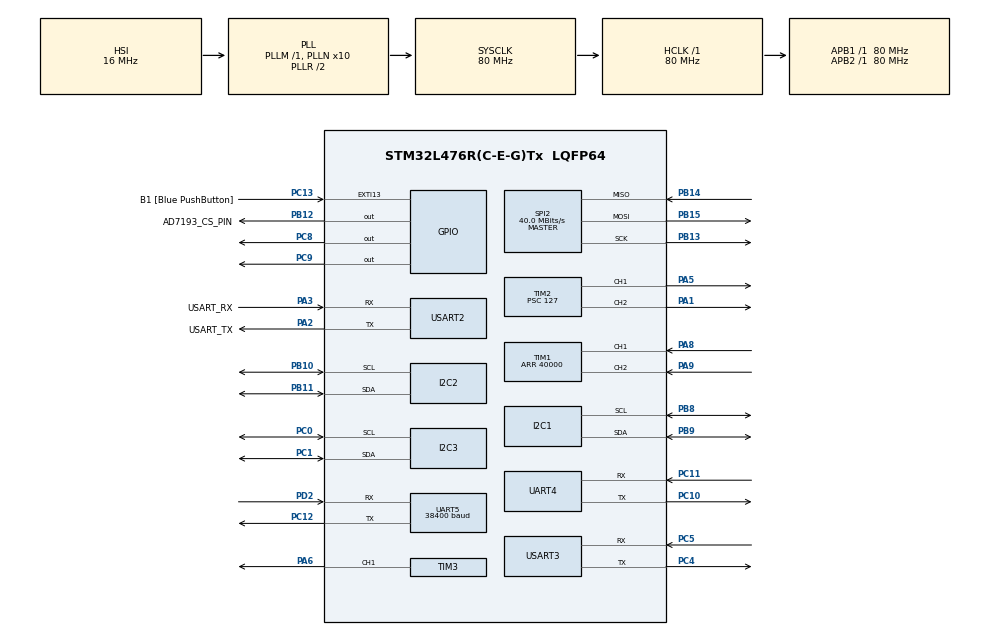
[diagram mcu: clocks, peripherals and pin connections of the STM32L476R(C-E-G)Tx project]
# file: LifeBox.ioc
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Dma.Request0=UART5_RX
Dma.Request1=UART5_TX
Dma.UART5_RX.0.Direction=DMA_PERIPH_TO_MEMORY
Dma.UART5_RX.0.Instance=DMA2_Channel2
Dma.UART5_RX.0.MemDataAlignment=DMA_MDATAALIGN_BYTE
Dma.UART5_RX.0.MemInc=DMA_MINC_ENABLE
Dma.UART5_RX.0.Mode=DMA_NORMAL
Dma.UART5_RX.0.PeriphDataAlignment=DMA_PDATAALIGN_BYTE
Dma.UART5_RX.0.PeriphInc=DMA_PINC_DISABLE
Dma.UART5_RX.0.Priority=DMA_PRIORITY_LOW
Dma.UART5_TX.1.Direction=DMA_MEMORY_TO_PERIPH
Dma.UART5_TX.1.Instance=DMA2_Channel1
Dma.UART5_TX.1.MemDataAlignment=DMA_MDATAALIGN_BYTE
Dma.UART5_TX.1.MemInc=DMA_MINC_ENABLE
Dma.UART5_TX.1.Mode=DMA_NORMAL
Dma.UART5_TX.1.PeriphDataAlignment=DMA_PDATAALIGN_BYTE
Dma.UART5_TX.1.PeriphInc=DMA_PINC_DISABLE
Dma.UART5_TX.1.Priority=DMA_PRIORITY_LOW
I2C2.Timeout=0x000080C3
Mcu.Family=STM32L4
Mcu.Name=STM32L476R(C-E-G)Tx
Mcu.Package=LQFP64
NVIC.DMA2_Channel1_IRQn=true\:0\:0\:false\:false\:true\:false\:true
NVIC.DMA2_Channel2_IRQn=true\:0\:0\:false\:false\:true\:false\:true
NVIC.I2C1_EV_IRQn=true\:0\:0\:false\:false\:true\:true\:true
NVIC.I2C2_EV_IRQn=true\:0\:0\:false\:false\:true\:true\:true
NVIC.I2C3_EV_IRQn=true\:0\:0\:false\:false\:true\:true\:true
NVIC.PriorityGroup=NVIC_PRIORITYGROUP_0
NVIC.TIM1_CC_IRQn=true\:0\:0\:false\:false\:true\:true\:true
NVIC.TIM5_IRQn=true\:0\:1\:true\:false\:true\:true\:true
NVIC.TIM6_DAC_IRQn=true\:0\:0\:false\:false\:true\:true\:true
NVIC.UART4_IRQn=true\:0\:0\:false\:false\:true\:true\:true
NVIC.UART5_IRQn=true\:0\:0\:false\:false\:true\:true\:true
NVIC.USART2_IRQn=true\:0\:0\:false\:false\:true\:true\:true
NVIC.USART3_IRQn=true\:0\:0\:true\:false\:true\:true\:true
PA1.Signal=S_TIM2_CH2
PA13\ (JTMS-SWDIO).GPIO_Label=TMS
PA13\ (JTMS-SWDIO).Mode=Serial_Wire
PA13\ (JTMS-SWDIO).Signal=SYS_JTMS-SWDIO
PA14\ (JTCK-SWCLK).GPIO_Label=TCK
PA14\ (JTCK-SWCLK).Mode=Serial_Wire
PA14\ (JTCK-SWCLK).Signal=SYS_JTCK-SWCLK
PA2.GPIO_Label=USART_TX
PA2.GPIO_Mode=GPIO_MODE_AF_PP
PA2.GPIO_PuPd=GPIO_NOPULL
PA2.GPIO_Speed=GPIO_SPEED_FREQ_VERY_HIGH
PA2.Mode=Asynchronous
PA2.Signal=USART2_TX
PA3.GPIO_Label=USART_RX
PA3.GPIO_Mode=GPIO_MODE_AF_PP
PA3.GPIO_PuPd=GPIO_NOPULL
PA3.GPIO_Speed=GPIO_SPEED_FREQ_VERY_HIGH
PA3.Mode=Asynchronous
PA3.Signal=USART2_RX
PA5.Signal=S_TIM2_CH1
PA6.Signal=S_TIM3_CH1
PA8.Signal=S_TIM1_CH1
PA9.Signal=S_TIM1_CH2
PB10.Mode=I2C
PB10.Signal=I2C2_SCL
PB11.Mode=I2C
PB11.Signal=I2C2_SDA
PB12.GPIO_Label=AD7193_CS_PIN
PB12.Signal=GPIO_Output
PB13.Mode=Full_Duplex_Master
PB13.Signal=SPI2_SCK
PB14.Mode=Full_Duplex_Master
PB14.Signal=SPI2_MISO
PB15.Mode=Full_Duplex_Master
PB15.Signal=SPI2_MOSI
PB3\ (JTDO-TRACESWO).GPIO_Label=SWO
PB3\ (JTDO-TRACESWO).Signal=SYS_JTDO-SWO
PB8.Mode=I2C
PB8.Signal=I2C1_SCL
PB9.Mode=I2C
PB9.Signal=I2C1_SDA
PC0.Mode=I2C
PC0.Signal=I2C3_SCL
PC1.Mode=I2C
PC1.Signal=I2C3_SDA
PC10.Mode=Asynchronous
PC10.Signal=UART4_TX
PC11.Mode=Asynchronous
PC11.Signal=UART4_RX
PC12.Mode=Asynchronous
PC12.Signal=UART5_TX
PC13.GPIO_Label=B1 [Blue PushButton]
PC13.GPIO_ModeDefaultEXTI=GPIO_MODE_IT_FALLING
PC13.GPIO_PuPd=GPIO_NOPULL
PC13.Signal=GPXTI13
PC14-OSC32_IN\ (PC14).Mode=LSE-External-Oscillator
PC14-OSC32_IN\ (PC14).Signal=RCC_OSC32_IN
PC15-OSC32_OUT\ (PC15).Mode=LSE-External-Oscillator
PC15-OSC32_OUT\ (PC15).Signal=RCC_OSC32_OUT
PC4.Mode=Asynchronous
PC4.Signal=USART3_TX
PC5.Mode=Asynchronous
PC5.Signal=USART3_RX
PC8.GPIO_PuPd=GPIO_PULLUP
PC8.PinState=GPIO_PIN_RESET
PC8.Signal=GPIO_Output
PC9.GPIO_PuPd=GPIO_PULLUP
PC9.PinState=GPIO_PIN_RESET
PC9.Signal=GPIO_Output
PD2.Mode=Asynchronous
PD2.Signal=UART5_RX
PH0-OSC_IN\ (PH0).Signal=RCC_OSC_IN
PH1-OSC_OUT\ (PH1).Signal=RCC_OSC_OUT
ProjectManager.HeapSize=0x200
ProjectManager.StackSize=0x400
ProjectManager.TargetToolchain=STM32CubeIDE
RCC.ADCFreq_Value=64000000
RCC.AHBFreq_Value=80000000
RCC.APB1Freq_Value=80000000
RCC.APB1TimFreq_Value=80000000
RCC.APB2Freq_Value=80000000
RCC.APB2TimFreq_Value=80000000
RCC.CortexFreq_Value=80000000
RCC.HCLKFreq_Value=80000000
RCC.HSE_VALUE=8000000
RCC.HSI_VALUE=16000000
RCC.MSI_VALUE=4000000
RCC.PLLN=10
RCC.PLLSourceVirtual=RCC_PLLSOURCE_HSI
RCC.PREFETCH_ENABLE=1
RCC.SYSCLKFreq_VALUE=80000000
RCC.SYSCLKSource=RCC_SYSCLKSOURCE_PLLCLK
RCC.USBFreq_Value=64000000
RCC.VCOOutputFreq_Value=160000000
SH.S_TIM1_CH1.0=TIM1_CH1,Encoder_Interface
SH.S_TIM1_CH2.0=TIM1_CH2,Encoder_Interface
SH.S_TIM2_CH1.0=TIM2_CH1,PWM Generation1 CH1
SH.S_TIM2_CH2.0=TIM2_CH2,PWM Generation2 CH2
SH.S_TIM3_CH1.0=TIM3_CH1,PWM Generation1 CH1
SPI2.CLKPhase=SPI_PHASE_2EDGE
SPI2.CLKPolarity=SPI_POLARITY_HIGH
SPI2.CalculateBaudRate=40.0 MBits/s
SPI2.DataSize=SPI_DATASIZE_8BIT
SPI2.Direction=SPI_DIRECTION_2LINES
SPI2.Mode=SPI_MODE_MASTER
SPI2.VirtualType=VM_MASTER
TIM1.Period=40000
TIM2.Channel-PWM\ Generation1\ CH1=TIM_CHANNEL_1
TIM2.Channel-PWM\ Generation2\ CH2=TIM_CHANNEL_2
TIM2.Period=62500-1
TIM2.Prescaler=127
TIM2.Pulse-PWM\ Generation1\ CH1=31250
TIM3.Channel-PWM\ Generation1\ CH1=TIM_CHANNEL_1
TIM3.Period=25000-1
TIM3.Prescaler=63
TIM5.Period=312500-1
TIM5.Prescaler=255
TIM6.Period=39062
TIM6.Prescaler=2047
UART5.BaudRate=38400
USART2.VirtualMode-Asynchronous=VM_ASYNC
USART3.VirtualMode-Asynchronous=VM_ASYNC
VP_TIM2_VS_ClockSourceINT.Mode=Internal
VP_TIM3_VS_ClockSourceINT.Mode=Internal
VP_TIM5_VS_ClockSourceINT.Mode=Internal
VP_TIM6_VS_ClockSourceINT.Mode=Enable_Timer
board=NUCLEO-L476RG

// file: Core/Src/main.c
/* USER CODE BEGIN Header */
/**
  ******************************************************************************
  * @file           : main.c
  * @brief          : Main program body
  ******************************************************************************
  * @attention
  *
  * <h2><center>&copy; Copyright (c) 2020 STMicroelectronics.
  * All rights reserved.</center></h2>
  *
  * This software component is licensed by ST under BSD 3-Clause license,
  * the "License"; You may not use this file except in compliance with the
  * License. You may obtain a copy of the License at:
  *                        opensource.org/licenses/BSD-3-Clause
  *
  ******************************************************************************
  */
/* USER CODE END Header */

#include "main.h"

/* USER CODE BEGIN Includes */
#include "Serial/Serial.h"
#include "roboClaw/roboClaw.h"
#include <string.h>
/* USER CODE END Includes */

/* USER CODE BEGIN PD */
//#define POWER_ON_SELF_TEST	0
/* USER CODE END PD */

/* USER CODE BEGIN PM */
#define F_I(f) ( f>0?(uint32_t)(f + 0.5):(uint32_t)(f - 0.5))
/* USER CODE END PM */

I2C_HandleTypeDef hi2c1;
I2C_HandleTypeDef hi2c2;
I2C_HandleTypeDef hi2c3;

SPI_HandleTypeDef hspi2;

TIM_HandleTypeDef htim1;
TIM_HandleTypeDef htim2;
TIM_HandleTypeDef htim3;
TIM_HandleTypeDef htim5;
TIM_HandleTypeDef htim6;

UART_HandleTypeDef huart4;
UART_HandleTypeDef huart5;
UART_HandleTypeDef huart2;
UART_HandleTypeDef huart3;
DMA_HandleTypeDef hdma_uart5_rx;
DMA_HandleTypeDef hdma_uart5_tx;

/* USER CODE BEGIN PV */
SERIAL_HandleTypeDef *hserial_uart5;
RoboClaw_HandleTypeDef hroboclaw_mc1;

Pressure_t PressureLimits;
uint8_t debug_buff[50];
uint32_t m1_enc_cnt;
uint32_t m1_speed;
uint8_t status;
bool valid;
char *user_data = "\tHello User! Welcome to LifeBox...\r\n";
char *exit_data = "\n\tThankyou for using LifeBox...\r\n";
char *menu_data = "\r\n"
		"**************************************************************************************\r\n"
		"*****************************************MAIN MENU************************************\r\n"
		"**************************************************************************************\r\n"
		"1. START BLOWER\r\n"
		"2. STOP BLOWER\r\n"
		"3. START EXHAUST FAN\r\n"
		"4. STOP EXHAUST FAN\r\n"
		"5. OPEN SOLENOID VALVE\r\n"
		"6. CLOSE SOLENOID VALVE\r\n"
		"7. READ TEMPERATURE SENSOR 1 MCP9808\r\n"
		"8. READ TEMPERATURE SENSOR 2 MCP9808\r\n"
		"9. READ HEART TEMPERATURE SENSOR MLX90614\r\n"
		"a. READ HUMIDITY + TEMPERATURE SENSOR BME280\r\n"
		"b. READ LOAD SENSOR 1\r\n"
		"c. START PUMP 1\r\n"
		"d. STOP PUMP 1\r\n"
		"e. READ ENCODER\r\n"
		"f. START PUMP 2\r\n"
		"g. STOP PUMP 2\r\n"
		"h. READ pH SENSOR\r\n"
		"i. READ PRESSURE SENSOR\r\n"
		"j. READ FLOW SENSOR\r\n"
		"k. TEST COMMNUNICATION WITH RASPBERRY-PI\r\n"
		"p. START COOLING CHAMBER\r\n"
		"s. STOP COOLING CHAMBER\r\n"
		"x. EXIT APPLICATION\r\n"
		"Enter your Option Number\r\n";
char *CurrentBlowerOption[3] = {"\n\t--------BLOWER STARTED SUCCESSFULLY--------\r\n",
		"\n\t--------BLOWER STOPPED SUCCESSFULLY--------\r\n",
		"\n\t--------INVALID OPTION SELECTED--------\r\n"};
char *BlowerSetting_data = "\n"
		"*************************************************************************************\r\n"
		"********************************BLOWER SETTINGS TABLE********************************\r\n"
		"*************************************************************************************\r\n"
		"1. 0% DUTY CYCLE\r\n"
		"2. 30% DUTY CYCLE\r\n"
		"3. 60% DUTY CYCLE\r\n"
		"4. 80% DUTY CYCLE\r\n"
		"5. 100% DUTY CYCLE\r\n"
		"Enter your Option Number and press the ENTER key\r\n";
char *PumpOneSetting_data = "\n"
		"*************************************************************************************\r\n"
		"********************************BLOWER SETTINGS TABLE********************************\r\n"
		"*************************************************************************************\r\n"
		"1. 10% DUTY CYCLE\r\n"
		"2. 100% DUTY CYCLE\r\n"
		"Enter your Option Number and press the ENTER key\r\n";
char *CurrentExhaustFanOption[3] = {"\n\t--------EXHAUST FAN STARTED SUCCESSFULLY--------\r\n",
		"\n\t--------EXHAUST FAN STOPPED SUCCESSFULLY--------\r\n",
		"\n\t--------INVALID OPTION SELECTED--------\r\n"};
char *ExhaustFanSetting_data = "\n"
		"**********************************************************************************\r\n"
		"*****************************EXHAUST FAN SETTINGS TABLE***************************\r\n"
		"**********************************************************************************\r\n"
		"1. 25% DUTY CYCLE\r\n"
		"2. 50% DUTY CYCLE\r\n"
		"3. 75% DUTY CYCLE\r\n"
		"4. 100% DUTY CYCLE\r\n"
		"5. DUTY CYCLE in LOOP 1% to 100% and vice-versa\r\n"
		"Enter your Option Number and press the ENTER key\r\n";

uint8_t RxData = 0;
uint8_t RxDataBuffer[100];
uint8_t RxOptionData[10],RxBlowerOption[10],RxExhaustFanOption[10];
uint8_t Cnt = 0,Complete = 0;
uint8_t MainMenuMode = 0,BlowerStartMode = 0,ExhaustFanStartMode = 0, BlowerLoop = 0, ExhaustFanLoop = 0;
uint32_t PulseCounter = 0;
uint8_t RcvDataBuffer[7],RcvDataBuf[20],PerfusionDataBuf[5];
uint8_t Count = 0;
uint8_t RcvData = 0;
uint8_t TemperatureAvailable = 0;
float Temperature = 0;
uint32_t IterationNumber = 0;
float Temp_IN_PID_Output[5000][3];
uint8_t PWM = 0;
uint8_t LastPWM = 0;
uint8_t BlowerPIDLoop = 0;
uint8_t PwmZero = 0;
uint16_t adcValue = 0;
int UnitWeight = 0;
float CalibrationValue = 0;
uint16_t NumOfSamples = 4;
char usr_msg1[100];
uint8_t ON = 0,OFF = 0;
int DryIceLoad = 0;
int SalineOneLoad = 0;
int SalineTwoLoad = 0;
uint8_t BlowerFunctionalTime = 0;
uint8_t BlowerOnOff = 0;
uint8_t ExhaustOnOff = 0;
float pHValue = 0;
float PressureValue = 0;
uint8_t PerfusionSettingUpdated = 0,ReqPerfusionTime = 0;
uint8_t ReqPerfusionData = 0;
uint16_t PerfusionFlowRate = 0;
uint8_t PerfusionTimeInterval = 0;
uint8_t PerfusionTime = 0;
uint32_t SecondCount = 0, GsecCounter = 0;
uint32_t MinuteCount = 0, GminCounter = 0;
uint8_t MainPumpSpeedValue = 0;
uint8_t StopPumpOneMotor = 0;
uint8_t StartPumpOneMotor = 0;
uint8_t StopPumpTwoMotor = 0;
uint8_t StartPumpTwoMotor = 0;
uint8_t NumOfPerfusionCycles = 0;
/* USER CODE END PV */

void SystemClock_Config(void);
static void MX_GPIO_Init(void);
static void MX_DMA_Init(void);
static void MX_TIM2_Init(void);
static void MX_USART2_UART_Init(void);
static void MX_I2C1_Init(void);
static void MX_I2C2_Init(void);
static void MX_I2C3_Init(void);
static void MX_TIM1_Init(void);
static void MX_TIM3_Init(void);
static void MX_TIM5_Init(void);
static void MX_USART3_UART_Init(void);
static void MX_UART4_Init(void);
static void MX_UART5_Init(void);
static void MX_SPI2_Init(void);
static void MX_TIM6_Init(void);
/* USER CODE BEGIN PFP */
void MenuDisplay();
void ResetVariables();
/* USER CODE END PFP */

int main(void)
{

  /* MCU Configuration--------------------------------------------------------*/

  /* Reset of all peripherals, Initializes the Flash interface and the Systick. */
  HAL_Init();

  /* Configure the system clock */
  SystemClock_Config();

  /* Initialize all configured peripherals */
  MX_GPIO_Init();
  MX_DMA_Init();
  MX_TIM2_Init();
  MX_USART2_UART_Init();
  MX_I2C1_Init();
  MX_I2C2_Init();
  MX_I2C3_Init();
  MX_TIM1_Init();
  MX_TIM3_Init();
  MX_TIM5_Init();
  MX_USART3_UART_Init();
  MX_UART4_Init();
  MX_UART5_Init();
  MX_SPI2_Init();
  MX_TIM6_Init();
  /* USER CODE BEGIN 2 */
  InitializeRoboClaw();
  LoadDefaultSettings();
  InitializePressureSensor();
  InitializeTemperatureSensor();
  InitializeLoadCell();
  //  InitializeServo();
  /*to run unit level test un-comment below two lines*/
  if(POWER_ON_SELF_TEST == 1)
  {
	  HAL_UART_Transmit(&huart2, (uint8_t*)user_data, strlen(user_data), HAL_MAX_DELAY);
	  MenuDisplay();
  }
  else
  {
	  ReadTemperatureSensorOne();
	  ReadTemperatureSensorTwo();
	  ReadHeartTemperatureSensor();
  }

  /* USER CODE END 2 */

  /* Infinite loop */
  /* USER CODE BEGIN WHILE */
  while (1)
  {
/*	  BackupCodes
//	  to run PID through RaspberryPi Temperature reception un-comment below line
//	  HAL_UART_Receive_IT(&huart3, &RcvData, 1);

//	  to run Servo Motor un-comment the below Lines of code
//	  ExhaustGateOpen();
//	  HAL_Delay(2000);
//	  ExhaustGateClose();
//	  HAL_Delay(2000);

//	  to run External ADC un-comment the below Lines of code
//	  adcValue = readADC_SingleEnded(2);
//	  HAL_Delay(100);

//	  to run Exhaust FAN with servo motor un-comment the below Lines of code
//	  ExhaustGateOpen();
//	  HAL_GPIO_WritePin(GPIOC, GPIO_PIN_8, GPIO_PIN_SET);
//	  HAL_Delay(3000);
//	  ExhaustGateClose();
//	  HAL_GPIO_WritePin(GPIOC, GPIO_PIN_8, GPIO_PIN_RESET);
//	  HAL_Delay(3000);

//To run Cooling Chamber PID uncomment the following lines of code
 * read temperature sensor values and Load cell value here
 * calculate the weighted average of the two temperature sensors
 * 70% for the bottom Temperature sensor 1
 * 30% for the top Temperature sensor 2
 * monitor for the emergency button

//	  if(BlowerPIDLoop == 1)
//	  {
//		  ReadTemperatureSensorOne();
//		  ReadTemperatureSensorTwo();
//		  Temperature = (((TemperatureOne * 0.7) + (TemperatureTwo * 0.3)) );
//		  sprintf(usr_msg1, "\n\tTemperature Sensor Value =  %f *C\n\r", (Temperature));
//		  if(HAL_UART_Transmit(&huart2, (uint8_t*)usr_msg1, sizeof(usr_msg1), HAL_MAX_DELAY)!= HAL_OK)
//		  {
//			  Error_Handler();
//		  }
//	  }
//	  to run unit level test un-comment below two lines*/
	  if(POWER_ON_SELF_TEST == 1)
		  PowerOnSelfTest();
	  else
	  {
		  ReadLoadcell();
		  ReadTemperatureSensorOne();
		  ReadTemperatureSensorTwo();
		  CalculateTempAverage();
		  ReadHeartTemperatureSensor();
		  pHValue = ReadPHSensor();
		  PressureValue = ReadPressureSensor();
		  HAL_UART_Receive_IT(&huart4, &RcvData, 1);

		  if(RcvDataBuf[0] == '1')
		  {
			  ResetVariables();
			  memset(usr_msg1, 0, sizeof(usr_msg1)); // clear the array
			  sprintf(usr_msg1, "A\n\r");
			  SendToGUI((uint8_t*)usr_msg1);
			  RcvDataBuf[Count] = 0;
			  ON = 1;
			  OFF = 0;
			  HAL_Delay(100);
		  }
		  else if(RcvDataBuf[0] == '2')
		  {
			  memset(usr_msg1, 0, sizeof(usr_msg1)); // clear the array
			  sprintf(usr_msg1, "B\n\r");
			  SendToGUI((uint8_t*)usr_msg1);
			  RcvDataBuf[Count] = 0;
			  OFF = 1;
			  ON = 0;
			  HAL_Delay(100);
		  }
		  else if(RcvDataBuf[0] == 'C')
		  {
			  StartCoolingChamber();
			  RcvDataBuf[Count] = 0;
		  }
		  else if(RcvDataBuf[0] == 'c')
		  {
			  StopCoolingChamber();
			  ExhaustGateClose();
			  ExhaustOff();
			  RcvDataBuf[Count] = 0;
		  }
		  else if(RcvDataBuf[0] == 'X')
		  {
			  ExhaustGateOpen();
			  ExhaustOn();
			  RcvDataBuf[Count] = 0;
		  }
		  else if(RcvDataBuf[0] == 'x')
		  {
			  ExhaustGateClose();
			  ExhaustOff();
			  RcvDataBuf[Count] = 0;
		  }
		  else if(RcvDataBuf[0] == 'T')
		  {
			  HX711_Tare(NumOfSamples,DRY_ICE_LOAD);
			  RcvDataBuf[Count] = 0;
		  }
		  else if(RcvDataBuf[0] == 'L')
		  {
			  /*Tare the main reservoir load cell*/
			  HX711_Tare(NumOfSamples,PERFUSION_FLUID_LOAD);
			  RcvDataBuf[Count] = 0;
		  }
		  else if(RcvDataBuf[0] == 'l')
		  {
			  /*Tare the waste reservoir load cell*/
			  HX711_Tare(NumOfSamples,WASTE_FLUID_LOAD);
			  RcvDataBuf[Count] = 0;
		  }
		  else if(RcvDataBuf[0] == 'U')
		  {
			  /*Update the perfusion settings*/
			  ReqPerfusionData = 1;
			  RcvDataBuf[Count] = 0;
		  }
		  else if(PerfusionSettingUpdated == 1)
		  {
			  GetPerfusionData();
			  PerfusionSettingUpdated = 0;
		  }
		  else if(RcvDataBuf[0] == 'P')
		  {
			  /*Start the perfusion at the given rate
			   * start the interval timer here*/
			  StartPerfusion();
			  RcvDataBuf[Count] = 0;
		  }
		  else if(RcvDataBuf[0] == 'p')
		  {
			  /*Stop the perfusion*/
			  StopPerfusion();
			  RcvDataBuf[Count] = 0;
		  }
		  else if(RcvDataBuf[0] == 'M')
		  {
			  /*Start the Motor 1 in forward direction*/
			  ForwardM1(&hroboclaw_mc1,64);
			  RcvDataBuf[Count] = 0;
		  }
		  else if(RcvDataBuf[0] == 'm')
		  {
			  /*Stop the Motor 1*/
			  ForwardM1(&hroboclaw_mc1,0);
			  RcvDataBuf[Count] = 0;
		  }
		  else if(RcvDataBuf[0] == 'S')
		  {
			  /*Start the Motor 2 in forward direction*/
			  ForwardM2(&hroboclaw_mc1,127);
			  RcvDataBuf[Count] = 0;
		  }
		  else if(RcvDataBuf[0] == 's')
		  {
			  /*Stop the Motor 2*/
			  ForwardM2(&hroboclaw_mc1,0);
			  RcvDataBuf[Count] = 0;
		  }
		  else if(RcvDataBuf[0] == 'F')
		  {
			  /*Start the Motor 1 in backward direction*/
			  BackwardM1(&hroboclaw_mc1,64);
			  RcvDataBuf[Count] = 0;
		  }
		  else if(RcvDataBuf[0] == 'f')
		  {
			  /*Stop the Motor 1*/
			  BackwardM1(&hroboclaw_mc1,0);
			  RcvDataBuf[Count] = 0;
		  }
		  else if(RcvDataBuf[0] == 'R')
		  {
			  /*Start the Motor 2 in backward direction*/
			  BackwardM2(&hroboclaw_mc1,127);
			  RcvDataBuf[Count] = 0;
		  }
		  else if(RcvDataBuf[0] == 'r')
		  {
			  /*Stop the Motor 2*/
			  BackwardM2(&hroboclaw_mc1,0);
			  RcvDataBuf[Count] = 0;
		  }
		  else if(RcvDataBuf[0] == 'I')
		  {
			  /*Reset the perfusion data*/
			  ResetPerfusionData();
			  RcvDataBuf[Count] = 0;
		  }
		  else if(RcvDataBuf[0] == 'Z')
		  {
			  RcvDataBuf[Count] = 0;
		  }
		  if(ON == 1)
		  {
			  memset(usr_msg1, 0, sizeof(usr_msg1)); // clear the array
			  sprintf(usr_msg1, "***\n\r");
			  SendToGUI((uint8_t*)usr_msg1);

			  memset(usr_msg1, 0, sizeof(usr_msg1)); // clear the array
			  sprintf(usr_msg1, "%f\n\r", (TemperatureOne));
			  SendToGUI((uint8_t*)usr_msg1);
//			  SendToUSB((uint8_t*)usr_msg1);

			  memset(usr_msg1, 0, sizeof(usr_msg1)); // clear the array
			  sprintf(usr_msg1, "%f\n\r", (TemperatureTwo));
			  SendToGUI((uint8_t*)usr_msg1);
//			  SendToUSB((uint8_t*)usr_msg1);

			  memset(usr_msg1, 0, sizeof(usr_msg1)); // clear the array
			  sprintf(usr_msg1, "%f\n\r", (Temperature));
			  SendToGUI((uint8_t*)usr_msg1);
//			  SendToUSB((uint8_t*)usr_msg1);

			  memset(usr_msg1, 0, sizeof(usr_msg1)); // clear the array
			  sprintf(usr_msg1, "%f\n\r", (HeartTemperature));
			  SendToGUI((uint8_t*)usr_msg1);
//			  SendToUSB((uint8_t*)usr_msg1);

			  memset(usr_msg1, 0, sizeof(usr_msg1)); // clear the array
			  sprintf(usr_msg1, "%d\n\r", (DryIceLoad));
			  SendToGUI((uint8_t*)usr_msg1);
//			  SendToUSB((uint8_t*)usr_msg1);

			  memset(usr_msg1, 0, sizeof(usr_msg1)); // clear the array
			  sprintf(usr_msg1, "%d\n\r", (SalineOneLoad));
			  SendToGUI((uint8_t*)usr_msg1);
//			  SendToUSB((uint8_t*)usr_msg1);

			  memset(usr_msg1, 0, sizeof(usr_msg1)); // clear the array
			  sprintf(usr_msg1, "%d\n\r", (SalineTwoLoad));
			  SendToGUI((uint8_t*)usr_msg1);
//			  SendToUSB((uint8_t*)usr_msg1);

			  memset(usr_msg1, 0, sizeof(usr_msg1)); // clear the array
			  sprintf(usr_msg1, "%f\n\r", (PidOutput));
			  SendToGUI((uint8_t*)usr_msg1);
//			  SendToUSB((uint8_t*)usr_msg1);

			  memset(usr_msg1, 0, sizeof(usr_msg1)); // clear the array
//			  sprintf(usr_msg1, "%d\n\r", (PWM));
			  sprintf(usr_msg1, "%d\n\r", (BlowerFunctionalTime));
			  SendToGUI((uint8_t*)usr_msg1);
//			  SendToUSB((uint8_t*)usr_msg1);

			  memset(usr_msg1, 0, sizeof(usr_msg1)); // clear the array
			  sprintf(usr_msg1, "%d\n\r", (BlowerOnOff));
			  SendToGUI((uint8_t*)usr_msg1);
//			  SendToUSB((uint8_t*)usr_msg1);

			  memset(usr_msg1, 0, sizeof(usr_msg1)); // clear the array
			  sprintf(usr_msg1, "%d\n\r", (ExhaustOnOff));
			  SendToGUI((uint8_t*)usr_msg1);
//			  SendToUSB((uint8_t*)usr_msg1);

			  memset(usr_msg1, 0, sizeof(usr_msg1)); // clear the array
			  sprintf(usr_msg1, "%d\n\r", (ReqPerfusionData));
			  SendToGUI((uint8_t*)usr_msg1);
//			  SendToUSB((uint8_t*)usr_msg1);

			  memset(usr_msg1, 0, sizeof(usr_msg1)); // clear the array
			  sprintf(usr_msg1, "%d\n\r", (ReqPerfusionTime));
			  SendToGUI((uint8_t*)usr_msg1);
//			  SendToUSB((uint8_t*)usr_msg1);

			  memset(usr_msg1, 0, sizeof(usr_msg1)); // clear the array
			  sprintf(usr_msg1, "%ld\n\r", (GsecCounter));
			  SendToGUI((uint8_t*)usr_msg1);
//			  SendToUSB((uint8_t*)usr_msg1);

			  memset(usr_msg1, 0, sizeof(usr_msg1)); // clear the array
			  sprintf(usr_msg1, "%ld\n\r", (SecondCount));
			  SendToGUI((uint8_t*)usr_msg1);
//			  SendToUSB((uint8_t*)usr_msg1);

			  memset(usr_msg1, 0, sizeof(usr_msg1)); // clear the array
			  sprintf(usr_msg1, "%d\n\r", (StartPumpOneMotor));
			  SendToGUI((uint8_t*)usr_msg1);
//			  SendToUSB((uint8_t*)usr_msg1);

			  memset(usr_msg1, 0, sizeof(usr_msg1)); // clear the array
			  sprintf(usr_msg1, "%d\n\r", (StartPumpTwoMotor));
			  SendToGUI((uint8_t*)usr_msg1);
//			  SendToUSB((uint8_t*)usr_msg1);

			  memset(usr_msg1, 0, sizeof(usr_msg1)); // clear the array
			  sprintf(usr_msg1, "%f\n\r", (PressureValue));
			  SendToGUI((uint8_t*)usr_msg1);
//			  SendToUSB((uint8_t*)usr_msg1);

			  memset(usr_msg1, 0, sizeof(usr_msg1)); // clear the array
			  sprintf(usr_msg1, "%f\n\r", (pHValue));
			  SendToGUI((uint8_t*)usr_msg1);
//			  SendToUSB((uint8_t*)usr_msg1);

			  memset(usr_msg1, 0, sizeof(usr_msg1)); // clear the array
			  sprintf(usr_msg1, "%d\n\r", (NumOfPerfusionCycles));
			  SendToGUI((uint8_t*)usr_msg1);
//			  SendToUSB((uint8_t*)usr_msg1);
		  }
		  else
		  {
			  /*Stop all timers and motor here*/
			  HAL_TIM_Base_Stop_IT(&htim6);
			  ForwardM1(&hroboclaw_mc1,0);
			  ForwardM2(&hroboclaw_mc1,0);
			  StopPumpOneMotor = 0;
			  StartPumpOneMotor = 0;
			  StopPumpTwoMotor = 0;
			  StartPumpTwoMotor = 0;
		  }
		  if(StopPumpOneMotor == 1)
		  {
			  ForwardM1(&hroboclaw_mc1,0);
		  }
		  if(StartPumpOneMotor == 1)
		  {
			  ForwardM1(&hroboclaw_mc1,MainPumpSpeedValue);
		  }
		  if(StopPumpTwoMotor == 1)
		  {
			  ForwardM2(&hroboclaw_mc1,0);
		  }
		  if(StartPumpTwoMotor == 1)
		  {
			  ForwardM2(&hroboclaw_mc1,127);//max speed
		  }
	  }

    /* USER CODE END WHILE */

  }
}

void SystemClock_Config(void)
{
  RCC_OscInitTypeDef RCC_OscInitStruct = {0};
  RCC_ClkInitTypeDef RCC_ClkInitStruct = {0};
  RCC_PeriphCLKInitTypeDef PeriphClkInit = {0};

  /** Initializes the CPU, AHB and APB busses clocks
  */
  RCC_OscInitStruct.OscillatorType = RCC_OSCILLATORTYPE_HSI;
  RCC_OscInitStruct.HSIState = RCC_HSI_ON;
  RCC_OscInitStruct.HSICalibrationValue = RCC_HSICALIBRATION_DEFAULT;
  RCC_OscInitStruct.PLL.PLLState = RCC_PLL_ON;
  RCC_OscInitStruct.PLL.PLLSource = RCC_PLLSOURCE_HSI;
  RCC_OscInitStruct.PLL.PLLM = 1;
  RCC_OscInitStruct.PLL.PLLN = 10;
  RCC_OscInitStruct.PLL.PLLP = RCC_PLLP_DIV7;
  RCC_OscInitStruct.PLL.PLLQ = RCC_PLLQ_DIV2;
  RCC_OscInitStruct.PLL.PLLR = RCC_PLLR_DIV2;
  if (HAL_RCC_OscConfig(&RCC_OscInitStruct) != HAL_OK)
  {
    Error_Handler();
  }
  /** Initializes the CPU, AHB and APB busses clocks
  */
  RCC_ClkInitStruct.ClockType = RCC_CLOCKTYPE_HCLK|RCC_CLOCKTYPE_SYSCLK
                              |RCC_CLOCKTYPE_PCLK1|RCC_CLOCKTYPE_PCLK2;
  RCC_ClkInitStruct.SYSCLKSource = RCC_SYSCLKSOURCE_PLLCLK;
  RCC_ClkInitStruct.AHBCLKDivider = RCC_SYSCLK_DIV1;
  RCC_ClkInitStruct.APB1CLKDivider = RCC_HCLK_DIV1;
  RCC_ClkInitStruct.APB2CLKDivider = RCC_HCLK_DIV1;

  if (HAL_RCC_ClockConfig(&RCC_ClkInitStruct, FLASH_LATENCY_4) != HAL_OK)
  {
    Error_Handler();
  }
  PeriphClkInit.PeriphClockSelection = RCC_PERIPHCLK_USART2|RCC_PERIPHCLK_USART3
                              |RCC_PERIPHCLK_UART4|RCC_PERIPHCLK_UART5
                              |RCC_PERIPHCLK_I2C1|RCC_PERIPHCLK_I2C2
                              |RCC_PERIPHCLK_I2C3;
  PeriphClkInit.Usart2ClockSelection = RCC_USART2CLKSOURCE_PCLK1;
  PeriphClkInit.Usart3ClockSelection = RCC_USART3CLKSOURCE_PCLK1;
  PeriphClkInit.Uart4ClockSelection = RCC_UART4CLKSOURCE_PCLK1;
  PeriphClkInit.Uart5ClockSelection = RCC_UART5CLKSOURCE_PCLK1;
  PeriphClkInit.I2c1ClockSelection = RCC_I2C1CLKSOURCE_PCLK1;
  PeriphClkInit.I2c2ClockSelection = RCC_I2C2CLKSOURCE_PCLK1;
  PeriphClkInit.I2c3ClockSelection = RCC_I2C3CLKSOURCE_PCLK1;
  if (HAL_RCCEx_PeriphCLKConfig(&PeriphClkInit) != HAL_OK)
  {
    Error_Handler();
  }
  /** Configure the main internal regulator output voltage
  */
  if (HAL_PWREx_ControlVoltageScaling(PWR_REGULATOR_VOLTAGE_SCALE1) != HAL_OK)
  {
    Error_Handler();
  }
}

static void MX_I2C1_Init(void)
{

  hi2c1.Instance = I2C1;
  hi2c1.Init.Timing = 0x10909CEC;
  hi2c1.Init.OwnAddress1 = 0;
  hi2c1.Init.AddressingMode = I2C_ADDRESSINGMODE_7BIT;
  hi2c1.Init.DualAddressMode = I2C_DUALADDRESS_DISABLE;
  hi2c1.Init.OwnAddress2 = 0;
  hi2c1.Init.OwnAddress2Masks = I2C_OA2_NOMASK;
  hi2c1.Init.GeneralCallMode = I2C_GENERALCALL_DISABLE;
  hi2c1.Init.NoStretchMode = I2C_NOSTRETCH_DISABLE;
  if (HAL_I2C_Init(&hi2c1) != HAL_OK)
  {
    Error_Handler();
  }
  /** Configure Analogue filter
  */
  if (HAL_I2CEx_ConfigAnalogFilter(&hi2c1, I2C_ANALOGFILTER_ENABLE) != HAL_OK)
  {
    Error_Handler();
  }
  /** Configure Digital filter
  */
  if (HAL_I2CEx_ConfigDigitalFilter(&hi2c1, 0) != HAL_OK)
  {
    Error_Handler();
  }

}

static void MX_I2C2_Init(void)
{

  hi2c2.Instance = I2C2;
  hi2c2.Init.Timing = 0x10909CEC;
  hi2c2.Init.OwnAddress1 = 0;
  hi2c2.Init.AddressingMode = I2C_ADDRESSINGMODE_7BIT;
  hi2c2.Init.DualAddressMode = I2C_DUALADDRESS_DISABLE;
  hi2c2.Init.OwnAddress2 = 0;
  hi2c2.Init.OwnAddress2Masks = I2C_OA2_NOMASK;
  hi2c2.Init.GeneralCallMode = I2C_GENERALCALL_DISABLE;
  hi2c2.Init.NoStretchMode = I2C_NOSTRETCH_DISABLE;
  if (HAL_I2C_Init(&hi2c2) != HAL_OK)
  {
    Error_Handler();
  }
  /** Configure Analogue filter
  */
  if (HAL_I2CEx_ConfigAnalogFilter(&hi2c2, I2C_ANALOGFILTER_ENABLE) != HAL_OK)
  {
    Error_Handler();
  }
  /** Configure Digital filter
  */
  if (HAL_I2CEx_ConfigDigitalFilter(&hi2c2, 0) != HAL_OK)
  {
    Error_Handler();
  }

}

static void MX_I2C3_Init(void)
{

  hi2c3.Instance = I2C3;
  hi2c3.Init.Timing = 0x10909CEC;
  hi2c3.Init.OwnAddress1 = 0;
  hi2c3.Init.AddressingMode = I2C_ADDRESSINGMODE_7BIT;
  hi2c3.Init.DualAddressMode = I2C_DUALADDRESS_DISABLE;
  hi2c3.Init.OwnAddress2 = 0;
  hi2c3.Init.OwnAddress2Masks = I2C_OA2_NOMASK;
  hi2c3.Init.GeneralCallMode = I2C_GENERALCALL_DISABLE;
  hi2c3.Init.NoStretchMode = I2C_NOSTRETCH_DISABLE;
  if (HAL_I2C_Init(&hi2c3) != HAL_OK)
  {
    Error_Handler();
  }
  /** Configure Analogue filter
  */
  if (HAL_I2CEx_ConfigAnalogFilter(&hi2c3, I2C_ANALOGFILTER_ENABLE) != HAL_OK)
  {
    Error_Handler();
  }
  /** Configure Digital filter
  */
  if (HAL_I2CEx_ConfigDigitalFilter(&hi2c3, 0) != HAL_OK)
  {
    Error_Handler();
  }

}

static void MX_SPI2_Init(void)
{

  /* SPI2 parameter configuration*/
  hspi2.Instance = SPI2;
  hspi2.Init.Mode = SPI_MODE_MASTER;
  hspi2.Init.Direction = SPI_DIRECTION_2LINES;
  hspi2.Init.DataSize = SPI_DATASIZE_8BIT;
  hspi2.Init.CLKPolarity = SPI_POLARITY_HIGH;
  hspi2.Init.CLKPhase = SPI_PHASE_2EDGE;
  hspi2.Init.NSS = SPI_NSS_SOFT;
  hspi2.Init.BaudRatePrescaler = SPI_BAUDRATEPRESCALER_2;
  hspi2.Init.FirstBit = SPI_FIRSTBIT_MSB;
  hspi2.Init.TIMode = SPI_TIMODE_DISABLE;
  hspi2.Init.CRCCalculation = SPI_CRCCALCULATION_DISABLE;
  hspi2.Init.CRCPolynomial = 7;
  hspi2.Init.CRCLength = SPI_CRC_LENGTH_DATASIZE;
  hspi2.Init.NSSPMode = SPI_NSS_PULSE_DISABLE;
  if (HAL_SPI_Init(&hspi2) != HAL_OK)
  {
    Error_Handler();
  }

}

static void MX_TIM1_Init(void)
{

  TIM_Encoder_InitTypeDef sConfig = {0};
  TIM_MasterConfigTypeDef sMasterConfig = {0};

  htim1.Instance = TIM1;
  htim1.Init.Prescaler = 0;
  htim1.Init.CounterMode = TIM_COUNTERMODE_UP;
  htim1.Init.Period = 40000;
  htim1.Init.ClockDivision = TIM_CLOCKDIVISION_DIV1;
  htim1.Init.RepetitionCounter = 0;
  htim1.Init.AutoReloadPreload = TIM_AUTORELOAD_PRELOAD_DISABLE;
  sConfig.EncoderMode = TIM_ENCODERMODE_TI1;
  sConfig.IC1Polarity = TIM_ICPOLARITY_RISING;
  sConfig.IC1Selection = TIM_ICSELECTION_DIRECTTI;
  sConfig.IC1Prescaler = TIM_ICPSC_DIV1;
  sConfig.IC1Filter = 0;
  sConfig.IC2Polarity = TIM_ICPOLARITY_RISING;
  sConfig.IC2Selection = TIM_ICSELECTION_DIRECTTI;
  sConfig.IC2Prescaler = TIM_ICPSC_DIV1;
  sConfig.IC2Filter = 0;
  if (HAL_TIM_Encoder_Init(&htim1, &sConfig) != HAL_OK)
  {
    Error_Handler();
  }
  sMasterConfig.MasterOutputTrigger = TIM_TRGO_RESET;
  sMasterConfig.MasterOutputTrigger2 = TIM_TRGO2_RESET;
  sMasterConfig.MasterSlaveMode = TIM_MASTERSLAVEMODE_DISABLE;
  if (HAL_TIMEx_MasterConfigSynchronization(&htim1, &sMasterConfig) != HAL_OK)
  {
    Error_Handler();
  }

}

static void MX_TIM2_Init(void)
{

  TIM_ClockConfigTypeDef sClockSourceConfig = {0};
  TIM_MasterConfigTypeDef sMasterConfig = {0};
  TIM_OC_InitTypeDef sConfigOC = {0};

  htim2.Instance = TIM2;
  htim2.Init.Prescaler = 127;
  htim2.Init.CounterMode = TIM_COUNTERMODE_UP;
  htim2.Init.Period = 62500-1;
  htim2.Init.ClockDivision = TIM_CLOCKDIVISION_DIV1;
  htim2.Init.AutoReloadPreload = TIM_AUTORELOAD_PRELOAD_DISABLE;
  if (HAL_TIM_Base_Init(&htim2) != HAL_OK)
  {
    Error_Handler();
  }
  sClockSourceConfig.ClockSource = TIM_CLOCKSOURCE_INTERNAL;
  if (HAL_TIM_ConfigClockSource(&htim2, &sClockSourceConfig) != HAL_OK)
  {
    Error_Handler();
  }
  if (HAL_TIM_PWM_Init(&htim2) != HAL_OK)
  {
    Error_Handler();
  }
  sMasterConfig.MasterOutputTrigger = TIM_TRGO_RESET;
  sMasterConfig.MasterSlaveMode = TIM_MASTERSLAVEMODE_DISABLE;
  if (HAL_TIMEx_MasterConfigSynchronization(&htim2, &sMasterConfig) != HAL_OK)
  {
    Error_Handler();
  }
  sConfigOC.OCMode = TIM_OCMODE_PWM1;
  sConfigOC.Pulse = 31250;
  sConfigOC.OCPolarity = TIM_OCPOLARITY_HIGH;
  sConfigOC.OCFastMode = TIM_OCFAST_DISABLE;
  if (HAL_TIM_PWM_ConfigChannel(&htim2, &sConfigOC, TIM_CHANNEL_1) != HAL_OK)
  {
    Error_Handler();
  }
  sConfigOC.Pulse = 0;
  if (HAL_TIM_PWM_ConfigChannel(&htim2, &sConfigOC, TIM_CHANNEL_2) != HAL_OK)
  {
    Error_Handler();
  }
  HAL_TIM_MspPostInit(&htim2);

}

static void MX_TIM3_Init(void)
{

  TIM_ClockConfigTypeDef sClockSourceConfig = {0};
  TIM_MasterConfigTypeDef sMasterConfig = {0};
  TIM_OC_InitTypeDef sConfigOC = {0};

  htim3.Instance = TIM3;
  htim3.Init.Prescaler = 63;
  htim3.Init.CounterMode = TIM_COUNTERMODE_UP;
  htim3.Init.Period = 25000-1;
  htim3.Init.ClockDivision = TIM_CLOCKDIVISION_DIV1;
  htim3.Init.AutoReloadPreload = TIM_AUTORELOAD_PRELOAD_DISABLE;
  if (HAL_TIM_Base_Init(&htim3) != HAL_OK)
  {
    Error_Handler();
  }
  sClockSourceConfig.ClockSource = TIM_CLOCKSOURCE_INTERNAL;
  if (HAL_TIM_ConfigClockSource(&htim3, &sClockSourceConfig) != HAL_OK)
  {
    Error_Handler();
  }
  if (HAL_TIM_PWM_Init(&htim3) != HAL_OK)
  {
    Error_Handler();
  }
  sMasterConfig.MasterOutputTrigger = TIM_TRGO_RESET;
  sMasterConfig.MasterSlaveMode = TIM_MASTERSLAVEMODE_DISABLE;
  if (HAL_TIMEx_MasterConfigSynchronization(&htim3, &sMasterConfig) != HAL_OK)
  {
    Error_Handler();
  }
  sConfigOC.OCMode = TIM_OCMODE_PWM1;
  sConfigOC.Pulse = 0;
  sConfigOC.OCPolarity = TIM_OCPOLARITY_HIGH;
  sConfigOC.OCFastMode = TIM_OCFAST_DISABLE;
  if (HAL_TIM_PWM_ConfigChannel(&htim3, &sConfigOC, TIM_CHANNEL_1) != HAL_OK)
  {
    Error_Handler();
  }
  HAL_TIM_MspPostInit(&htim3);

}

static void MX_TIM5_Init(void)
{

  TIM_ClockConfigTypeDef sClockSourceConfig = {0};
  TIM_MasterConfigTypeDef sMasterConfig = {0};

  htim5.Instance = TIM5;
  htim5.Init.Prescaler = 255;
  htim5.Init.CounterMode = TIM_COUNTERMODE_UP;
  htim5.Init.Period = 312500-1;
  htim5.Init.ClockDivision = TIM_CLOCKDIVISION_DIV1;
  htim5.Init.AutoReloadPreload = TIM_AUTORELOAD_PRELOAD_DISABLE;
  if (HAL_TIM_Base_Init(&htim5) != HAL_OK)
  {
    Error_Handler();
  }
  sClockSourceConfig.ClockSource = TIM_CLOCKSOURCE_INTERNAL;
  if (HAL_TIM_ConfigClockSource(&htim5, &sClockSourceConfig) != HAL_OK)
  {
    Error_Handler();
  }
  sMasterConfig.MasterOutputTrigger = TIM_TRGO_RESET;
  sMasterConfig.MasterSlaveMode = TIM_MASTERSLAVEMODE_DISABLE;
  if (HAL_TIMEx_MasterConfigSynchronization(&htim5, &sMasterConfig) != HAL_OK)
  {
    Error_Handler();
  }

}

static void MX_TIM6_Init(void)
{

  TIM_MasterConfigTypeDef sMasterConfig = {0};

  htim6.Instance = TIM6;
  htim6.Init.Prescaler = 2047;
  htim6.Init.CounterMode = TIM_COUNTERMODE_UP;
  htim6.Init.Period = 39062;
  htim6.Init.AutoReloadPreload = TIM_AUTORELOAD_PRELOAD_DISABLE;
  if (HAL_TIM_Base_Init(&htim6) != HAL_OK)
  {
    Error_Handler();
  }
  sMasterConfig.MasterOutputTrigger = TIM_TRGO_RESET;
  sMasterConfig.MasterSlaveMode = TIM_MASTERSLAVEMODE_DISABLE;
  if (HAL_TIMEx_MasterConfigSynchronization(&htim6, &sMasterConfig) != HAL_OK)
  {
    Error_Handler();
  }

}

static void MX_UART4_Init(void)
{

  huart4.Instance = UART4;
  huart4.Init.BaudRate = 115200;
  huart4.Init.WordLength = UART_WORDLENGTH_8B;
  huart4.Init.StopBits = UART_STOPBITS_1;
  huart4.Init.Parity = UART_PARITY_NONE;
  huart4.Init.Mode = UART_MODE_TX_RX;
  huart4.Init.HwFlowCtl = UART_HWCONTROL_NONE;
  huart4.Init.OverSampling = UART_OVERSAMPLING_16;
  huart4.Init.OneBitSampling = UART_ONE_BIT_SAMPLE_DISABLE;
  huart4.AdvancedInit.AdvFeatureInit = UART_ADVFEATURE_NO_INIT;
  if (HAL_UART_Init(&huart4) != HAL_OK)
  {
    Error_Handler();
  }

}

static void MX_UART5_Init(void)
{

  huart5.Instance = UART5;
  huart5.Init.BaudRate = 38400;
  huart5.Init.WordLength = UART_WORDLENGTH_8B;
  huart5.Init.StopBits = UART_STOPBITS_1;
  huart5.Init.Parity = UART_PARITY_NONE;
  huart5.Init.Mode = UART_MODE_TX_RX;
  huart5.Init.HwFlowCtl = UART_HWCONTROL_NONE;
  huart5.Init.OverSampling = UART_OVERSAMPLING_16;
  huart5.Init.OneBitSampling = UART_ONE_BIT_SAMPLE_DISABLE;
  huart5.AdvancedInit.AdvFeatureInit = UART_ADVFEATURE_NO_INIT;
  if (HAL_UART_Init(&huart5) != HAL_OK)
  {
    Error_Handler();
  }

}

static void MX_USART2_UART_Init(void)
{

  huart2.Instance = USART2;
  huart2.Init.BaudRate = 115200;
  huart2.Init.WordLength = UART_WORDLENGTH_8B;
  huart2.Init.StopBits = UART_STOPBITS_1;
  huart2.Init.Parity = UART_PARITY_NONE;
  huart2.Init.Mode = UART_MODE_TX_RX;
  huart2.Init.HwFlowCtl = UART_HWCONTROL_NONE;
  huart2.Init.OverSampling = UART_OVERSAMPLING_16;
  huart2.Init.OneBitSampling = UART_ONE_BIT_SAMPLE_DISABLE;
  huart2.AdvancedInit.AdvFeatureInit = UART_ADVFEATURE_NO_INIT;
  if (HAL_UART_Init(&huart2) != HAL_OK)
  {
    Error_Handler();
  }

}

static void MX_USART3_UART_Init(void)
{

  huart3.Instance = USART3;
  huart3.Init.BaudRate = 115200;
  huart3.Init.WordLength = UART_WORDLENGTH_8B;
  huart3.Init.StopBits = UART_STOPBITS_1;
  huart3.Init.Parity = UART_PARITY_NONE;
  huart3.Init.Mode = UART_MODE_TX_RX;
  huart3.Init.HwFlowCtl = UART_HWCONTROL_NONE;
  huart3.Init.OverSampling = UART_OVERSAMPLING_16;
  huart3.Init.OneBitSampling = UART_ONE_BIT_SAMPLE_DISABLE;
  huart3.AdvancedInit.AdvFeatureInit = UART_ADVFEATURE_NO_INIT;
  if (HAL_UART_Init(&huart3) != HAL_OK)
  {
    Error_Handler();
  }

}

static void MX_DMA_Init(void)
{

  /* DMA controller clock enable */
  __HAL_RCC_DMA2_CLK_ENABLE();

  /* DMA interrupt init */
  /* DMA2_Channel1_IRQn interrupt configuration */
  HAL_NVIC_SetPriority(DMA2_Channel1_IRQn, 0, 0);
  HAL_NVIC_EnableIRQ(DMA2_Channel1_IRQn);
  /* DMA2_Channel2_IRQn interrupt configuration */
  HAL_NVIC_SetPriority(DMA2_Channel2_IRQn, 0, 0);
  HAL_NVIC_EnableIRQ(DMA2_Channel2_IRQn);

}

static void MX_GPIO_Init(void)
{
  GPIO_InitTypeDef GPIO_InitStruct = {0};

  /* GPIO Ports Clock Enable */
  __HAL_RCC_GPIOC_CLK_ENABLE();
  __HAL_RCC_GPIOH_CLK_ENABLE();
  __HAL_RCC_GPIOA_CLK_ENABLE();
  __HAL_RCC_GPIOB_CLK_ENABLE();
  __HAL_RCC_GPIOD_CLK_ENABLE();

  /*Configure GPIO pin Output Level */
  HAL_GPIO_WritePin(AD7193_CS_PIN_GPIO_Port, AD7193_CS_PIN_Pin, GPIO_PIN_RESET);

  /*Configure GPIO pin Output Level */
  HAL_GPIO_WritePin(GPIOC, GPIO_PIN_8|GPIO_PIN_9, GPIO_PIN_RESET);

  /*Configure GPIO pin : B1_Pin */
  GPIO_InitStruct.Pin = B1_Pin;
  GPIO_InitStruct.Mode = GPIO_MODE_IT_FALLING;
  GPIO_InitStruct.Pull = GPIO_NOPULL;
  HAL_GPIO_Init(B1_GPIO_Port, &GPIO_InitStruct);

  /*Configure GPIO pin : AD7193_CS_PIN_Pin */
  GPIO_InitStruct.Pin = AD7193_CS_PIN_Pin;
  GPIO_InitStruct.Mode = GPIO_MODE_OUTPUT_PP;
  GPIO_InitStruct.Pull = GPIO_NOPULL;
  GPIO_InitStruct.Speed = GPIO_SPEED_FREQ_LOW;
  HAL_GPIO_Init(AD7193_CS_PIN_GPIO_Port, &GPIO_InitStruct);

  /*Configure GPIO pins : PC8 PC9 */
  GPIO_InitStruct.Pin = GPIO_PIN_8|GPIO_PIN_9;
  GPIO_InitStruct.Mode = GPIO_MODE_OUTPUT_PP;
  GPIO_InitStruct.Pull = GPIO_PULLUP;
  GPIO_InitStruct.Speed = GPIO_SPEED_FREQ_LOW;
  HAL_GPIO_Init(GPIOC, &GPIO_InitStruct);

}

/* USER CODE BEGIN 4 */
void ResetVariables()
{
	  ON = 0;
	  OFF = 0;
	  PWM = 0;
	  BlowerFunctionalTime = 0;
	  LastPWM = 0;
}
void InitializeLoadCell()
{
	if(DWT_Delay_Init()==1)
	  Error_Handler();
	HX711_init();
	CalibrationValue = 100;
	HX711_set_scale(CalibrationValue,DRY_ICE_LOAD);
	HX711_set_scale(CalibrationValue,PERFUSION_FLUID_LOAD);
	HX711_set_scale(CalibrationValue,WASTE_FLUID_LOAD);
	DryIceLoad = HX711_valueUnits(NumOfSamples,DRY_ICE_LOAD);
	SalineOneLoad = HX711_valueUnits(NumOfSamples,PERFUSION_FLUID_LOAD);
	SalineTwoLoad = HX711_valueUnits(NumOfSamples,WASTE_FLUID_LOAD);
	for(uint8_t i = 0; i<3;i++){
	  for(uint8_t j = 0;j<5; j++){
		  HX711_Tare(NumOfSamples,i);
		  HAL_Delay(50);
		}
	}
	/*for(uint8_t j = 0;j<5; j++){
	  HX711_Tare(NumOfSamples,DRY_ICE_LOAD);
	  HAL_Delay(50);
	}
	for(uint8_t j = 0;j<5; j++){
	  HX711_Tare(NumOfSamples,PERFUSION_FLUID_LOAD);
	  HAL_Delay(50);
	}
	for(uint8_t j = 0;j<5; j++){
	  HX711_Tare(NumOfSamples,WASTE_FLUID_LOAD);
	  HAL_Delay(50);
	}*/
	DryIceLoad = HX711_valueUnits(NumOfSamples,DRY_ICE_LOAD);
	SalineOneLoad = HX711_valueUnits(NumOfSamples,PERFUSION_FLUID_LOAD);
	SalineTwoLoad = HX711_valueUnits(NumOfSamples,WASTE_FLUID_LOAD);
}

void InitializeTemperatureSensor()
{
	  SetTempSensorResolution(COOLING_TEMPERATURE_SENSOR_ONE,FIFTEEN_SAMPLES_PER_SEC);
	  SetTempSensorResolution(COOLING_TEMPERATURE_SENSOR_TWO,FIFTEEN_SAMPLES_PER_SEC);
}
void InitializeRoboClaw()
{
	  /* initialize serial communication for roboClaw controller*/
	  hserial_uart5 = serial_init(&huart5);
	  /* Initialize roboClaw */
	  hroboclaw_mc1.hserial = hserial_uart5;
	  hroboclaw_mc1.packetserial_address = 0x80;
	  if (roboClaw_init(&hroboclaw_mc1) != ROBOCLAW_OK)
	  {
		  Error_Handler();
	  }
}
void InitializeServo()
{
	  /*to run Servo Motor un-comment the below Lines of code*/
	  HAL_TIM_PWM_Start(&htim3, TIM_CHANNEL_1);
}
void InitializePressureSensor()
{
	   // Device setup///////////////////////////////////
	   //This will append status bits onto end of data - is required for library to work properly
	   AD7193AppendStatusValuetoData();
	   // Set the gain of the PGA
	   AD7193SetPGAGain(128);
	   // Set the Averaging
	   AD7193SetAveraging(100);
	   /////////////////////////////////////
	   // Calibrate with given PGA settings - need to recalibrate if PGA setting is changed
	   AD7193ReadRegisterMap();
	   AD7193Calibrate();
	   // Debug - Check register map values
	   AD7193ReadRegisterMap();
	   PressureLimits.InputMax = 26300;//16300;
	   PressureLimits.InputMin = 19000;//9650;
	   PressureLimits.OutputMax = -600;
	   PressureLimits.OutputMin = 0;
	   //////////////////////////////////////
}
void LoadDefaultSettings()
{
//	  ExhaustGateClose();
	  ForwardM1(&hroboclaw_mc1,0);
	  ForwardM2(&hroboclaw_mc1,0);
}
void SendToGUI(uint8_t *pData)
{
	  if(HAL_UART_Transmit(&huart4, (uint8_t*)usr_msg1, strlen(usr_msg1), 100)!= HAL_OK)
	  {
		Error_Handler();
	  }
}
void SendToUSB(uint8_t *pData)
{
	if(HAL_UART_Transmit(&huart2, (uint8_t*)usr_msg1, sizeof(usr_msg1), 100)!= HAL_OK)
	{
		Error_Handler();
	}
}
/* USER CODE END 4 */

void Error_Handler(void)
{
}

/************************ (C) COPYRIGHT STMicroelectronics *****END OF FILE****/
